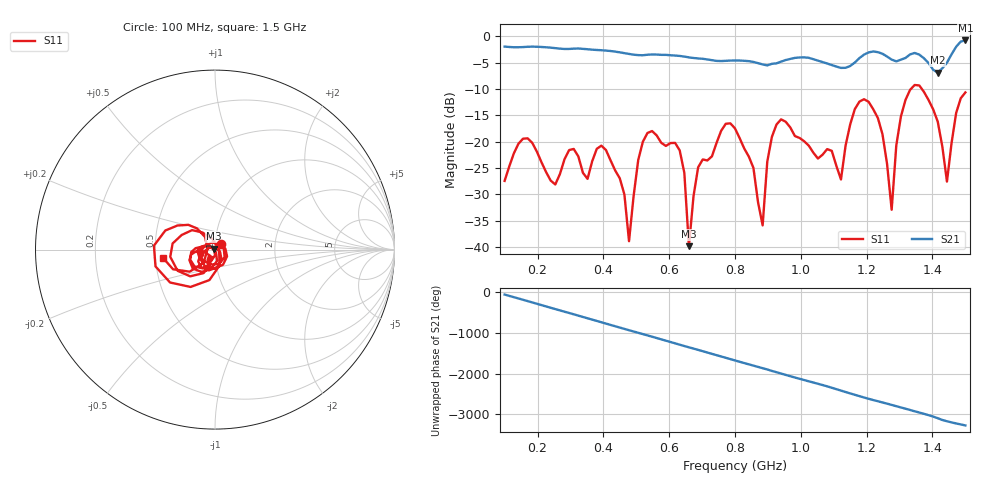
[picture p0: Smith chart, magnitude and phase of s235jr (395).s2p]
! NanoVNA-App
! Date: 2025-09-25 15:07:14
! Start: 100MHz Stop: 1,5GHz Points: 101
! S-Parameter data: F S11 S21 S12 S22
# Hz S RI R 50
!  Frequency  S11_Real  S11_Imag  S21_Real  S21_Imag  S12_Real  S12_Imag  S22_Real  S22_Imag
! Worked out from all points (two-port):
!   101 points, 100 MHz to 1.5 GHz, reference 50 ohm
!   highest |S21| = -0.80 dB at 1.5 GHz (marker M1); lowest = -6.9 dB at 1.416 GHz (marker M2)
!   |S21| within 3 dB of the highest: start of sweep to 638.9 MHz; 1.185 GHz to 1.26 GHz (75 MHz wide, 6.13 % of centre) (the widest 2 of 4)
!   lowest |S11| = -39.9 dB at 660 MHz (marker M3), VSWR 1.02, Z = 49.2 + j0.586 ohm
!   |S11| at or under -10 dB: start of sweep to 1.335 GHz; 1.368 GHz to end of sweep
!   S12 and S22 are empty: the file has one direction only
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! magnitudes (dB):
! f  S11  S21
! 100 MHz  -27.5  -2.0
! 156 MHz  -19.5  -2.1
! 338 MHz  -25.9  -2.4
! 408 MHz  -21.6  -2.7
! 478 MHz  -38.9  -3.4
! 520 MHz  -20.0  -3.6
! 576 MHz  -20.2  -3.5
! 632 MHz  -21.7  -3.7
! 660 MHz  -39.9  -4.0
! 688 MHz  -24.9  -4.2
! 800 MHz  -17.5  -4.6
! 884 MHz  -35.9  -5.4
! 926 MHz  -16.8  -5.1
! 1.038 GHz  -22.1  -4.4
! 1.122 GHz  -27.2  -6.0
! 1.206 GHz  -12.4  -3.1
! 1.276 GHz  -33.0  -4.4
! 1.29 GHz  -20.7  -4.8
! 1.332 GHz  -10.2  -3.4
! 1.416 GHz  -16.2  -6.9
! 1.444 GHz  -27.6  -5.0
! 1.5 GHz  -10.7  -0.8
